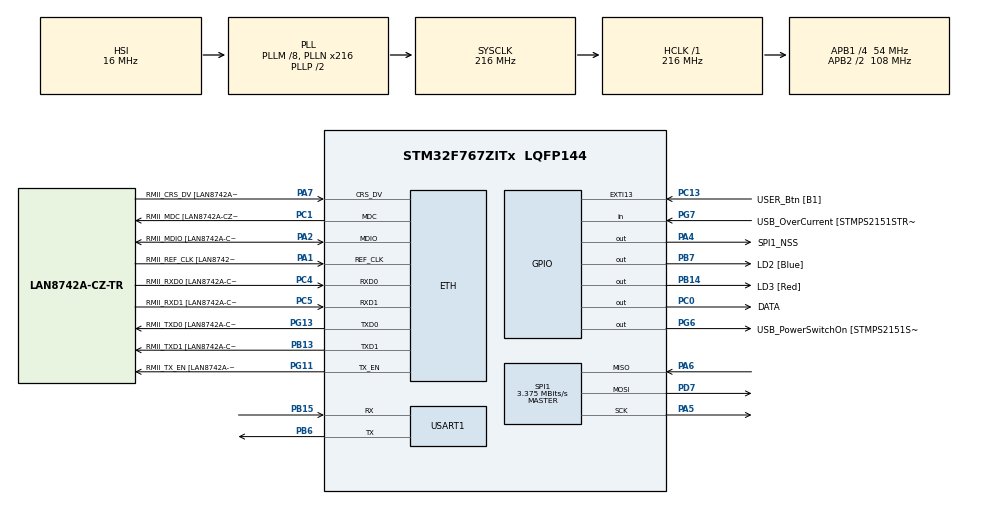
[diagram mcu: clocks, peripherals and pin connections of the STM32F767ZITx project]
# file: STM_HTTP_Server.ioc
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CORTEX_M7.ART_ACCLERATOR_ENABLE=1
ETH.MediaInterface=ETH_MEDIA_INTERFACE_RMII
ETH.PHY_Name=LAN8742A_PHY_ADDRESS
ETH.PHY_Value=0
ETH.PhyAddress=1
FREERTOS.CountingSemaphores01=filterDoneSem,3,Dynamic,NULL
FREERTOS.INCLUDE_vTaskDelayUntil=1
FREERTOS.Queues01=filterQueue,8,imuStruct,0,Dynamic,NULL,NULL;filteredImuQueue,8,imuStruct,0,Dynamic,NULL,NULL
FREERTOS.Tasks01=mpuListener,2,1024,getMpuData,Default,NULL,Dynamic,NULL,NULL;dataFilter,1,512,filterSomeData,Default,NULL,Dynamic,NULL,NULL;dhtTask,3,128,readDht,Default,NULL,Dynamic,NULL,NULL
FREERTOS.configTOTAL_HEAP_SIZE=24000
FREERTOS.configUSE_COUNTING_SEMAPHORES=1
FREERTOS.configUSE_STATS_FORMATTING_FUNCTIONS=1
FREERTOS.configUSE_TRACE_FACILITY=1
LWIP.HTTPD_USE_CUSTOM_FSDATA=0
LWIP.IP_ADDRESS=192.168.002.023
LWIP.LWIP_ALLOW_MEM_FREE_FROM_OTHER_CONTEXT=1
LWIP.LWIP_HTTPD=1
LWIP.LWIP_HTTPD_SUPPORT_POST=1
LWIP.LWIP_UDP=0
LWIP.MEMP_NUM_ARP_QUEUE=20
LWIP.MEMP_NUM_FRAG_PBUF=20
LWIP.MEMP_NUM_IGMP_GROUP=20
LWIP.MEMP_NUM_LOCALHOSTLIST=20
LWIP.MEMP_NUM_NETBUF=20
LWIP.MEMP_NUM_NETCONN=20
LWIP.MEMP_NUM_NETDB=20
LWIP.MEMP_NUM_PBUF=20
LWIP.MEMP_NUM_RAW_PCB=20
LWIP.MEMP_NUM_SYS_TIMEOUT=20
LWIP.MEMP_NUM_TCPIP_MSG_API=20
LWIP.MEMP_NUM_TCPIP_MSG_INPKT=20
LWIP.MEMP_NUM_TCP_PCB=30
LWIP.MEMP_NUM_TCP_PCB_LISTEN=20
LWIP.MEMP_NUM_TCP_SEG=20
LWIP.MEMP_OVERFLOW_CHECK=2
LWIP.NETMASK_ADDRESS=255.255.255.000
LWIP.PBUF_POOL_SIZE=20
LWIP.Version=v2.0.3_Cube
Mcu.Family=STM32F7
Mcu.Name=STM32F767ZITx
Mcu.Package=LQFP144
NVIC.ETH_IRQn=true\:5\:0\:false\:false\:true\:true\:false
NVIC.PriorityGroup=NVIC_PRIORITYGROUP_4
NVIC.TIM1_UP_TIM10_IRQn=true\:0\:0\:false\:false\:true\:false\:false
NVIC.TimeBase=TIM1_UP_TIM10_IRQn
NVIC.TimeBaseIP=TIM1
PA1.GPIO_Label=RMII_REF_CLK [LAN8742A-CZ-TR_REFCLK0]
PA1.Mode=RMII
PA1.Signal=ETH_REF_CLK
PA10.GPIO_Label=USB_ID
PA10.Signal=USB_OTG_FS_ID
PA11.GPIO_Label=USB_DM
PA11.Signal=USB_OTG_FS_DM
PA12.GPIO_Label=USB_DP
PA12.Signal=USB_OTG_FS_DP
PA13.GPIO_Label=TMS
PA13.Mode=Serial_Wire
PA13.Signal=SYS_JTMS-SWDIO
PA14.GPIO_Label=TCK
PA14.Mode=Serial_Wire
PA14.Signal=SYS_JTCK-SWCLK
PA2.GPIO_Label=RMII_MDIO [LAN8742A-CZ-TR_MDIO]
PA2.Mode=RMII
PA2.Signal=ETH_MDIO
PA4.GPIO_Label=SPI1_NSS
PA4.Signal=GPIO_Output
PA5.Mode=Full_Duplex_Master
PA5.Signal=SPI1_SCK
PA6.Mode=Full_Duplex_Master
PA6.Signal=SPI1_MISO
PA7.GPIO_Label=RMII_CRS_DV [LAN8742A-CZ-TR_CRS_DV]
PA7.Mode=RMII
PA7.Signal=ETH_CRS_DV
PA8.GPIO_Label=USB_SOF [TP1]
PA8.Signal=USB_OTG_FS_SOF
PA9.GPIO_Label=USB_VBUS
PA9.Signal=USB_OTG_FS_VBUS
PB13.GPIO_Label=RMII_TXD1 [LAN8742A-CZ-TR_TXD1]
PB13.Mode=RMII
PB13.Signal=ETH_TXD1
PB14.GPIO_Label=LD3 [Red]
PB14.Signal=GPIO_Output
PB15.Mode=Asynchronous
PB15.Signal=USART1_RX
PB3.GPIO_Label=SWO
PB3.Signal=SYS_JTDO-SWO
PB6.Mode=Asynchronous
PB6.Signal=USART1_TX
PB7.GPIO_Label=LD2 [Blue]
PB7.Signal=GPIO_Output
PC0.GPIO_Label=DATA
PC0.GPIO_ModeDefaultOutputPP=GPIO_MODE_OUTPUT_OD
PC0.GPIO_PuPd=GPIO_PULLUP
PC0.Signal=GPIO_Output
PC1.GPIO_Label=RMII_MDC [LAN8742A-CZ-TR_MDC]
PC1.Mode=RMII
PC1.Signal=ETH_MDC
PC13.GPIO_Label=USER_Btn [B1]
PC13.Signal=GPXTI13
PC14/OSC32_IN.Mode=LSE-External-Oscillator
PC14/OSC32_IN.Signal=RCC_OSC32_IN
PC15/OSC32_OUT.Mode=LSE-External-Oscillator
PC15/OSC32_OUT.Signal=RCC_OSC32_OUT
PC4.GPIO_Label=RMII_RXD0 [LAN8742A-CZ-TR_RXD0]
PC4.Mode=RMII
PC4.Signal=ETH_RXD0
PC5.GPIO_Label=RMII_RXD1 [LAN8742A-CZ-TR_RXD1]
PC5.Mode=RMII
PC5.Signal=ETH_RXD1
PD7.Mode=Full_Duplex_Master
PD7.Signal=SPI1_MOSI
PD8.GPIO_Label=STLK_RX [STM32F103CBT6_PA3]
PD8.Signal=USART3_TX
PD9.GPIO_Label=STLK_TX [STM32F103CBT6_PA2]
PD9.Signal=USART3_RX
PG11.GPIO_Label=RMII_TX_EN [LAN8742A-CZ-TR_TXEN]
PG11.Mode=RMII
PG11.Signal=ETH_TX_EN
PG13.GPIO_Label=RMII_TXD0 [LAN8742A-CZ-TR_TXD0]
PG13.Mode=RMII
PG13.Signal=ETH_TXD0
PG6.GPIO_Label=USB_PowerSwitchOn [STMPS2151STR_EN]
PG6.Signal=GPIO_Output
PG7.GPIO_Label=USB_OverCurrent [STMPS2151STR_FAULT]
PG7.Signal=GPIO_Input
PH0/OSC_IN.GPIO_Label=MCO [STM32F103CBT6_PA8]
PH0/OSC_IN.Mode=HSE-External-Clock-Source
PH0/OSC_IN.Signal=RCC_OSC_IN
PH1/OSC_OUT.Mode=HSE-External-Clock-Source
PH1/OSC_OUT.Signal=RCC_OSC_OUT
ProjectManager.HeapSize=0x2000
ProjectManager.StackSize=0x4000
ProjectManager.TargetToolchain=SW4STM32
RCC.48MHZClocksFreq_Value=24000000
RCC.AHBFreq_Value=216000000
RCC.APB1CLKDivider=RCC_HCLK_DIV4
RCC.APB1Freq_Value=54000000
RCC.APB1TimFreq_Value=108000000
RCC.APB2CLKDivider=RCC_HCLK_DIV2
RCC.APB2Freq_Value=108000000
RCC.APB2TimFreq_Value=216000000
RCC.CortexFreq_Value=216000000
RCC.HCLKFreq_Value=216000000
RCC.HSE_VALUE=8000000
RCC.HSI_VALUE=16000000
RCC.PLLM=8
RCC.PLLMUL=RCC_PLL_MUL9
RCC.PLLN=216
RCC.PLLQ=4
RCC.PRESCALERUSB=RCC_USBCLKSOURCE_PLL_DIV1_5
RCC.SYSCLKFreq_VALUE=216000000
RCC.SYSCLKSource=RCC_SYSCLKSOURCE_PLLCLK
RCC.SYSCLKSourceVirtual=RCC_SYSCLKSOURCE_PLLCLK
RCC.USBFreq_Value=108000000
RCC.VCOOutputFreq_Value=432000000
SPI1.BaudRatePrescaler=SPI_BAUDRATEPRESCALER_32
SPI1.CLKPhase=SPI_PHASE_2EDGE
SPI1.CLKPolarity=SPI_POLARITY_HIGH
SPI1.CalculateBaudRate=3.375 MBits/s
SPI1.DataSize=SPI_DATASIZE_8BIT
SPI1.Direction=SPI_DIRECTION_2LINES
SPI1.Mode=SPI_MODE_MASTER
SPI1.VirtualType=VM_MASTER
USART1.VirtualMode-Asynchronous=VM_ASYNC
VP_FREERTOS_VS_ENABLE.Mode=Enabled
VP_LWIP_VS_Enabled.Mode=Enabled
VP_SYS_VS_tim1.Mode=TIM1
board=NUCLEO-F767ZI

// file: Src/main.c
/**
  ******************************************************************************
  * @file           : main.c
  * @brief          : Main program body
  ******************************************************************************
  * This notice applies to any and all portions of this file
  * that are not between comment pairs USER CODE BEGIN and
  * USER CODE END. Other portions of this file, whether
  * inserted by the user or by software development tools
  * are owned by their respective copyright owners.
  *
  * Copyright (c) 2018 STMicroelectronics International N.V.
  * All rights reserved.
  *
  * Redistribution and use in source and binary forms, with or without
  * modification, are permitted, provided that the following conditions are met:
  *
  * 1. Redistribution of source code must retain the above copyright notice,
  *    this list of conditions and the following disclaimer.
  * 2. Redistributions in binary form must reproduce the above copyright notice,
  *    this list of conditions and the following disclaimer in the documentation
  *    and/or other materials provided with the distribution.
  * 3. Neither the name of STMicroelectronics nor the names of other
  *    contributors to this software may be used to endorse or promote products
  *    derived from this software without specific written permission.
  * 4. This software, including modifications and/or derivative works of this
  *    software, must execute solely and exclusively on microcontroller or
  *    microprocessor devices manufactured by or for STMicroelectronics.
  * 5. Redistribution and use of this software other than as permitted under
  *    this license is void and will automatically terminate your rights under
  *    this license.
  *
  * THIS SOFTWARE IS PROVIDED BY STMICROELECTRONICS AND CONTRIBUTORS "AS IS"
  * AND ANY EXPRESS, IMPLIED OR STATUTORY WARRANTIES, INCLUDING, BUT NOT
  * LIMITED TO, THE IMPLIED WARRANTIES OF MERCHANTABILITY, FITNESS FOR A
  * PARTICULAR PURPOSE AND NON-INFRINGEMENT OF THIRD PARTY INTELLECTUAL PROPERTY
  * RIGHTS ARE DISCLAIMED TO THE FULLEST EXTENT PERMITTED BY LAW. IN NO EVENT
  * SHALL STMICROELECTRONICS OR CONTRIBUTORS BE LIABLE FOR ANY DIRECT, INDIRECT,
  * INCIDENTAL, SPECIAL, EXEMPLARY, OR CONSEQUENTIAL DAMAGES (INCLUDING, BUT NOT
  * LIMITED TO, PROCUREMENT OF SUBSTITUTE GOODS OR SERVICES; LOSS OF USE, DATA,
  * OR PROFITS; OR BUSINESS INTERRUPTION) HOWEVER CAUSED AND ON ANY THEORY OF
  * LIABILITY, WHETHER IN CONTRACT, STRICT LIABILITY, OR TORT (INCLUDING
  * NEGLIGENCE OR OTHERWISE) ARISING IN ANY WAY OUT OF THE USE OF THIS SOFTWARE,
  * EVEN IF ADVISED OF THE POSSIBILITY OF SUCH DAMAGE.
  *
  ******************************************************************************
  */
#include "main.h"
#include "stm32f7xx_hal.h"
#include "cmsis_os.h"
#include "lwip.h"
#include "spi.h"
#include "usart.h"
#include "gpio.h"

/* USER CODE BEGIN Includes */
#include "httpserver-netconn.h"
/* USER CODE END Includes */

/* USER CODE BEGIN PV */
/* Private variables ---------------------------------------------------------*/
extern struct netif gnetif;
/* USER CODE END PV */

void SystemClock_Config(void);
void MX_FREERTOS_Init(void);

/* USER CODE BEGIN PFP */
/* Private function prototypes -----------------------------------------------*/

/* USER CODE END PFP */

int main(void)
{

  /* MCU Configuration----------------------------------------------------------*/

  /* Reset of all peripherals, Initializes the Flash interface and the Systick. */
  HAL_Init();

  /* Configure the system clock */
  SystemClock_Config();

  /* Initialize all configured peripherals */
  MX_GPIO_Init();
  MX_SPI1_Init();
  MX_USART1_UART_Init();
  /* USER CODE BEGIN 2 */
 MX_LWIP_Init();
 http_server_netconn_init();
  /* USER CODE END 2 */

  /* Call init function for freertos objects (in freertos.c) */
  MX_FREERTOS_Init();

  /* Start scheduler */
  osKernelStart();

  /* We should never get here as control is now taken by the scheduler */

  /* Infinite loop */
  while (1)
  {

  }

}

void SystemClock_Config(void)
{

  RCC_OscInitTypeDef RCC_OscInitStruct;
  RCC_ClkInitTypeDef RCC_ClkInitStruct;
  RCC_PeriphCLKInitTypeDef PeriphClkInitStruct;

    /**Configure the main internal regulator output voltage
    */
  __HAL_RCC_PWR_CLK_ENABLE();

  __HAL_PWR_VOLTAGESCALING_CONFIG(PWR_REGULATOR_VOLTAGE_SCALE1);

    /**Initializes the CPU, AHB and APB busses clocks
    */
  RCC_OscInitStruct.OscillatorType = RCC_OSCILLATORTYPE_HSI;
  RCC_OscInitStruct.HSIState = RCC_HSI_ON;
  RCC_OscInitStruct.HSICalibrationValue = 16;
  RCC_OscInitStruct.PLL.PLLState = RCC_PLL_ON;
  RCC_OscInitStruct.PLL.PLLSource = RCC_PLLSOURCE_HSI;
  RCC_OscInitStruct.PLL.PLLM = 8;
  RCC_OscInitStruct.PLL.PLLN = 216;
  RCC_OscInitStruct.PLL.PLLP = RCC_PLLP_DIV2;
  RCC_OscInitStruct.PLL.PLLQ = 4;
  if (HAL_RCC_OscConfig(&RCC_OscInitStruct) != HAL_OK)
  {
    _Error_Handler(__FILE__, __LINE__);
  }

    /**Activate the Over-Drive mode
    */
  if (HAL_PWREx_EnableOverDrive() != HAL_OK)
  {
    _Error_Handler(__FILE__, __LINE__);
  }

    /**Initializes the CPU, AHB and APB busses clocks
    */
  RCC_ClkInitStruct.ClockType = RCC_CLOCKTYPE_HCLK|RCC_CLOCKTYPE_SYSCLK
                              |RCC_CLOCKTYPE_PCLK1|RCC_CLOCKTYPE_PCLK2;
  RCC_ClkInitStruct.SYSCLKSource = RCC_SYSCLKSOURCE_PLLCLK;
  RCC_ClkInitStruct.AHBCLKDivider = RCC_SYSCLK_DIV1;
  RCC_ClkInitStruct.APB1CLKDivider = RCC_HCLK_DIV4;
  RCC_ClkInitStruct.APB2CLKDivider = RCC_HCLK_DIV2;

  if (HAL_RCC_ClockConfig(&RCC_ClkInitStruct, FLASH_LATENCY_7) != HAL_OK)
  {
    _Error_Handler(__FILE__, __LINE__);
  }

  PeriphClkInitStruct.PeriphClockSelection = RCC_PERIPHCLK_USART1;
  PeriphClkInitStruct.Usart1ClockSelection = RCC_USART1CLKSOURCE_PCLK2;
  if (HAL_RCCEx_PeriphCLKConfig(&PeriphClkInitStruct) != HAL_OK)
  {
    _Error_Handler(__FILE__, __LINE__);
  }

    /**Configure the Systick interrupt time
    */
  HAL_SYSTICK_Config(HAL_RCC_GetHCLKFreq()/1000);

    /**Configure the Systick
    */
  HAL_SYSTICK_CLKSourceConfig(SYSTICK_CLKSOURCE_HCLK);

  /* SysTick_IRQn interrupt configuration */
  HAL_NVIC_SetPriority(SysTick_IRQn, 15, 0);
}

void HAL_TIM_PeriodElapsedCallback(TIM_HandleTypeDef *htim)
{
  if (htim->Instance == TIM1) {
    HAL_IncTick();
  }
}

void _Error_Handler(char *file, int line)
{
  while(1)
  {
  }
}

/************************ (C) COPYRIGHT STMicroelectronics *****END OF FILE****/

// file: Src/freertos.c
/**
  ******************************************************************************
  * File Name          : freertos.c
  * Description        : Code for freertos applications
  ******************************************************************************
  * This notice applies to any and all portions of this file
  * that are not between comment pairs USER CODE BEGIN and
  * USER CODE END. Other portions of this file, whether
  * inserted by the user or by software development tools
  * are owned by their respective copyright owners.
  *
  * Copyright (c) 2018 STMicroelectronics International N.V.
  * All rights reserved.
  *
  * Redistribution and use in source and binary forms, with or without
  * modification, are permitted, provided that the following conditions are met:
  *
  * 1. Redistribution of source code must retain the above copyright notice,
  *    this list of conditions and the following disclaimer.
  * 2. Redistributions in binary form must reproduce the above copyright notice,
  *    this list of conditions and the following disclaimer in the documentation
  *    and/or other materials provided with the distribution.
  * 3. Neither the name of STMicroelectronics nor the names of other
  *    contributors to this software may be used to endorse or promote products
  *    derived from this software without specific written permission.
  * 4. This software, including modifications and/or derivative works of this
  *    software, must execute solely and exclusively on microcontroller or
  *    microprocessor devices manufactured by or for STMicroelectronics.
  * 5. Redistribution and use of this software other than as permitted under
  *    this license is void and will automatically terminate your rights under
  *    this license.
  *
  * THIS SOFTWARE IS PROVIDED BY STMICROELECTRONICS AND CONTRIBUTORS "AS IS"
  * AND ANY EXPRESS, IMPLIED OR STATUTORY WARRANTIES, INCLUDING, BUT NOT
  * LIMITED TO, THE IMPLIED WARRANTIES OF MERCHANTABILITY, FITNESS FOR A
  * PARTICULAR PURPOSE AND NON-INFRINGEMENT OF THIRD PARTY INTELLECTUAL PROPERTY
  * RIGHTS ARE DISCLAIMED TO THE FULLEST EXTENT PERMITTED BY LAW. IN NO EVENT
  * SHALL STMICROELECTRONICS OR CONTRIBUTORS BE LIABLE FOR ANY DIRECT, INDIRECT,
  * INCIDENTAL, SPECIAL, EXEMPLARY, OR CONSEQUENTIAL DAMAGES (INCLUDING, BUT NOT
  * LIMITED TO, PROCUREMENT OF SUBSTITUTE GOODS OR SERVICES; LOSS OF USE, DATA,
  * OR PROFITS; OR BUSINESS INTERRUPTION) HOWEVER CAUSED AND ON ANY THEORY OF
  * LIABILITY, WHETHER IN CONTRACT, STRICT LIABILITY, OR TORT (INCLUDING
  * NEGLIGENCE OR OTHERWISE) ARISING IN ANY WAY OUT OF THE USE OF THIS SOFTWARE,
  * EVEN IF ADVISED OF THE POSSIBILITY OF SUCH DAMAGE.
  *
  ******************************************************************************
  */

#include "FreeRTOS.h"
#include "task.h"
#include "cmsis_os.h"

/* USER CODE BEGIN Includes */
#include "MPU9250.h"
#include "spi.h"
#include "HTS221.h"
#include "GZY_LRF.h"
#include "usart.h"
/* USER CODE END Includes */

osThreadId mpuListenerHandle;
osThreadId dataFilterHandle;
osThreadId dhtTaskHandle;
osMessageQId filterQueueHandle;
osMessageQId filteredImuQueueHandle;
osSemaphoreId filterDoneSemHandle;

/* USER CODE BEGIN Variables */
#define FILTER_SIZE 8

osMessageQId tempDataQueueHandle;
osThreadId gzyMessageSendeHandle;
osThreadId gzyPacketParserHandle;
osSemaphoreId lrfDataReceivedHandle;
osSemaphoreId lrfMeasureCommandHandle;
osMessageQId lrfDataQueueHandle;
/* USER CODE END Variables */

void getMpuData(void const * argument);
void filterSomeData(void const * argument);
void readDht(void const * argument);

void MX_FREERTOS_Init(void); /* (MISRA C 2004 rule 8.1) */

/* USER CODE BEGIN FunctionPrototypes */
void filterThread(void const * argument);
uint16_t read_cycle(uint16_t cur_tics, uint8_t neg_tic);

void sendLRFMessage(void const * argument);
void parseGZYPacket(void const * argument);
/* USER CODE END FunctionPrototypes */

/* Hook prototypes */

/* Init FreeRTOS */

void MX_FREERTOS_Init(void) {

  /* Create the semaphores(s) */
  /* definition and creation of filterDoneSem */
  osSemaphoreDef(filterDoneSem);
  filterDoneSemHandle = osSemaphoreCreate(osSemaphore(filterDoneSem), 3);

  /* USER CODE BEGIN RTOS_SEMAPHORES */
  /* add semaphores, ... */
  osSemaphoreDef(lrfMeasureCommand);
   lrfMeasureCommandHandle = osSemaphoreCreate(osSemaphore(lrfMeasureCommand), 1);

   osSemaphoreDef(lrfDataReceived);
    lrfDataReceivedHandle = osSemaphoreCreate(osSemaphore(lrfDataReceived), 1);

  /* USER CODE END RTOS_SEMAPHORES */

  /* Create the thread(s) */
  /* definition and creation of mpuListener */
  osThreadDef(mpuListener, getMpuData, osPriorityHigh, 0, 1024);
  mpuListenerHandle = osThreadCreate(osThread(mpuListener), NULL);

  /* definition and creation of dataFilter */
  osThreadDef(dataFilter, filterSomeData, osPriorityAboveNormal, 0, 512);
  dataFilterHandle = osThreadCreate(osThread(dataFilter), NULL);

  /* definition and creation of dhtTask */
  osThreadDef(dhtTask, readDht, osPriorityRealtime, 0, 128);
  dhtTaskHandle = osThreadCreate(osThread(dhtTask), NULL);

  /* USER CODE BEGIN RTOS_THREADS */
  /* add threads, ... */
//  osThreadDef(gzyMessageSende, sendLRFMessage, osPriorityHigh, 0, 512);
//   gzyMessageSendeHandle = osThreadCreate(osThread(gzyMessageSende), NULL);

   /* definition and creation of gzyPacketParser */
//   osThreadDef(gzyPacketParser, parseGZYPacket, osPriorityHigh, 0, 128);
//   gzyPacketParserHandle = osThreadCreate(osThread(gzyPacketParser), NULL);

  /* USER CODE END RTOS_THREADS */

  /* Create the queue(s) */
  /* definition and creation of filterQueue */
  osMessageQDef(filterQueue, 8, imuStruct);
  filterQueueHandle = osMessageCreate(osMessageQ(filterQueue), NULL);

  /* definition and creation of filteredImuQueue */
  osMessageQDef(filteredImuQueue, 8, imuStruct);
  filteredImuQueueHandle = osMessageCreate(osMessageQ(filteredImuQueue), NULL);

  /* USER CODE BEGIN RTOS_QUEUES */
  /* add queues, ... */
  osMessageQDef(lrfDataQueue, 4, gzyDistanceStruct);
   lrfDataQueueHandle = osMessageCreate(osMessageQ(lrfDataQueue), NULL);

  osMessageQDef(tempDataQueue, 4, tempSensor);
  tempDataQueueHandle = osMessageCreate(osMessageQ(tempDataQueue), NULL);
  /* USER CODE END RTOS_QUEUES */
}

/* getMpuData function */
void getMpuData(void const * argument)
{

  /* USER CODE BEGIN getMpuData */
  /* Infinite loop */
  initMPU(&hspi1);
  for(;;)
  {
	MPU9250_TakeAndCalcData();
	MPU9250_CalcYPR();
	imuStruct rawMpu = imuGetData();
	xQueueSendToBack(filterQueueHandle, &rawMpu, 0);
    osDelay(1);
  }
  /* USER CODE END getMpuData */
}

/* filterSomeData function */
void filterSomeData(void const * argument)
{
  /* USER CODE BEGIN filterSomeData */
  /* Infinite loop */
  float filterYaw[FILTER_SIZE];
  float filterPitch[FILTER_SIZE];
  float filterRoll[FILTER_SIZE];

  uint8_t counter = 0;
  xSemaphoreTake(filterDoneSemHandle, 0);
  for(;;)
  {
	 imuStruct imuData;
	 xQueueReceive(filterQueueHandle, &imuData, portMAX_DELAY);

	 filterYaw[counter] = imuData.yaw;
	 filterPitch[counter] = imuData.pitch;
	 filterRoll[counter++] = imuData.roll;

	 if(counter == FILTER_SIZE){
		 uint8_t i, j;

		 sys_thread_new("FILTER_YAW", filterThread, &filterYaw, 128, osPriorityHigh);
		 sys_thread_new("FILTER_PITCH", filterThread, &filterPitch, 128, osPriorityHigh);
		 sys_thread_new("FILTER_ROLL", filterThread, &filterRoll, 128, osPriorityHigh);

		 xSemaphoreTake(filterDoneSemHandle, portMAX_DELAY);
		 xSemaphoreTake(filterDoneSemHandle, portMAX_DELAY);
		 xSemaphoreTake(filterDoneSemHandle, portMAX_DELAY);

		 imuData.yaw = filterYaw[FILTER_SIZE / 2];
		 imuData.pitch = filterPitch[FILTER_SIZE / 2];
		 imuData.roll = filterRoll[FILTER_SIZE / 2];
		 counter = 0;
		 xQueueSendToBack(filteredImuQueueHandle, &imuData, 0);
	 }

  }
  /* USER CODE END filterSomeData */
}

/* readDht function */
void readDht(void const * argument)
{
  /* USER CODE BEGIN readDht */
  /* Infinite loop */
	portTickType xLastWakeTime;
	xLastWakeTime = xTaskGetTickCount();
  for(;;)
  {
    HTS221_Get_Humidity();
	HTS221_Get_Temperature();

	xQueueSendToBack(tempDataQueueHandle, &tempData, 0);
	vTaskDelayUntil( &xLastWakeTime, 1000);
  }
  /* USER CODE END readDht */
}

/* USER CODE BEGIN Application */
void filterThread(void const * argument){
	float * data = (float *) argument;

	uint8_t i, j;
	for(i = 0; i < FILTER_SIZE - 1; ++i){
		 for(j = i + 1; j < FILTER_SIZE; ++j){
			 if(data[i] < data[j]){
				 float tmp = data[i];
				 data[i] = data[j];
				 data[j] = tmp;
			 }
		 }
	 }

	xSemaphoreGive(filterDoneSemHandle);
	osThreadTerminate(NULL);
}

void sendLRFMessage(void const * argument)
{

  /* USER CODE BEGIN sendLRFMessage */
	/* Infinite loop */
//	initGZY(&huart1);
	xSemaphoreTake(lrfMeasureCommandHandle, 0);
	for (;;) {
		xSemaphoreTake(lrfMeasureCommandHandle, portMAX_DELAY);
		gzyMeasureCommand();
		osDelay(500);
	}
  /* USER CODE END sendLRFMessage */
}

void parseGZYPacket(void const * argument)
{
  /* USER CODE BEGIN parseGZYPacket */
	xSemaphoreTake(lrfDataReceivedHandle, 0);
	for (;;) {
		xSemaphoreTake(lrfDataReceivedHandle, portMAX_DELAY);
		gzyDistanceStruct gzy = parseGZYMessage();
		xQueueSendToBack(lrfDataQueueHandle, &gzy, 0);

	}
  /* USER CODE END parseGZYPacket */
}

/* USER CODE END Application */

/************************ (C) COPYRIGHT STMicroelectronics *****END OF FILE****/
